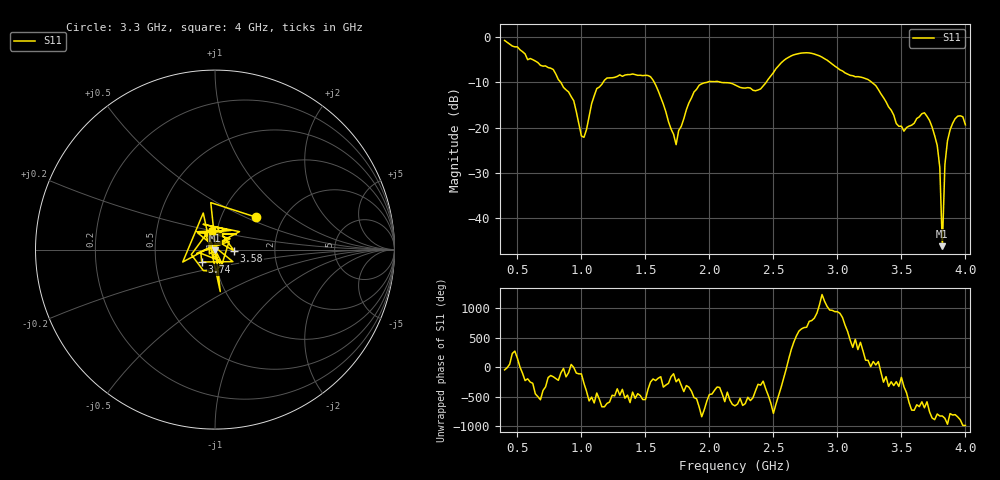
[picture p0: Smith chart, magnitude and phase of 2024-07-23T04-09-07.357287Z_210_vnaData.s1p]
!Created with skrf (http://scikit-rf.org).
# Hz S RI R 50.0
!freq ReS11 ImS11
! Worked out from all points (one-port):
!   181 points, 400 MHz to 4 GHz, reference 50 ohm
!   lowest |S11| = -46.2 dB at 3.82 GHz (marker M1), VSWR 1.01, Z = 49.9 - j0.477 ohm
!   |S11| at or under -10 dB: 1.569 GHz to 1.983 GHz (414.3 MHz wide, 23.3 % of centre); 2.09 GHz to 2.444 GHz (353.6 MHz wide, 15.6 % of centre); 3.268 GHz to end of sweep (the widest 3 of 4)
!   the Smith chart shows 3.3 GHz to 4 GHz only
!   S11 on the Smith chart (normalised r, x): 3.3 GHz: 1.45, +0.58; 3.58 GHz: 1.24, -0.02; 3.74 GHz: 0.85, -0.12; 4 GHz: 0.95, +0.20
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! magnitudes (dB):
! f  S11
! 400 MHz  -0.8
! 780 MHz  -7.2
! 860 MHz  -11.1
! 940 MHz  -14.1
! 1.02 GHz  -22.1
! 1.12 GHz  -11.4
! 1.3 GHz  -8.4
! 1.54 GHz  -8.8
! 1.74 GHz  -23.8
! 1.76 GHz  -20.6
! 1.92 GHz  -10.7
! 2.2 GHz  -10.6
! 2.4 GHz  -11.5
! 2.66 GHz  -3.9
! 3.1 GHz  -8.5
! 3.3 GHz  -10.7
! 3.46 GHz  -19.1
! 3.56 GHz  -19.7
! 3.58 GHz  -19.5
! 3.68 GHz  -16.7
! 3.74 GHz  -19.9
! 3.78 GHz  -23.9
! 3.8 GHz  -28.8
! 3.82 GHz  -46.2
! 3.84 GHz  -28.1
! 3.86 GHz  -22.9
! 3.94 GHz  -17.5
! 4 GHz  -19.4
